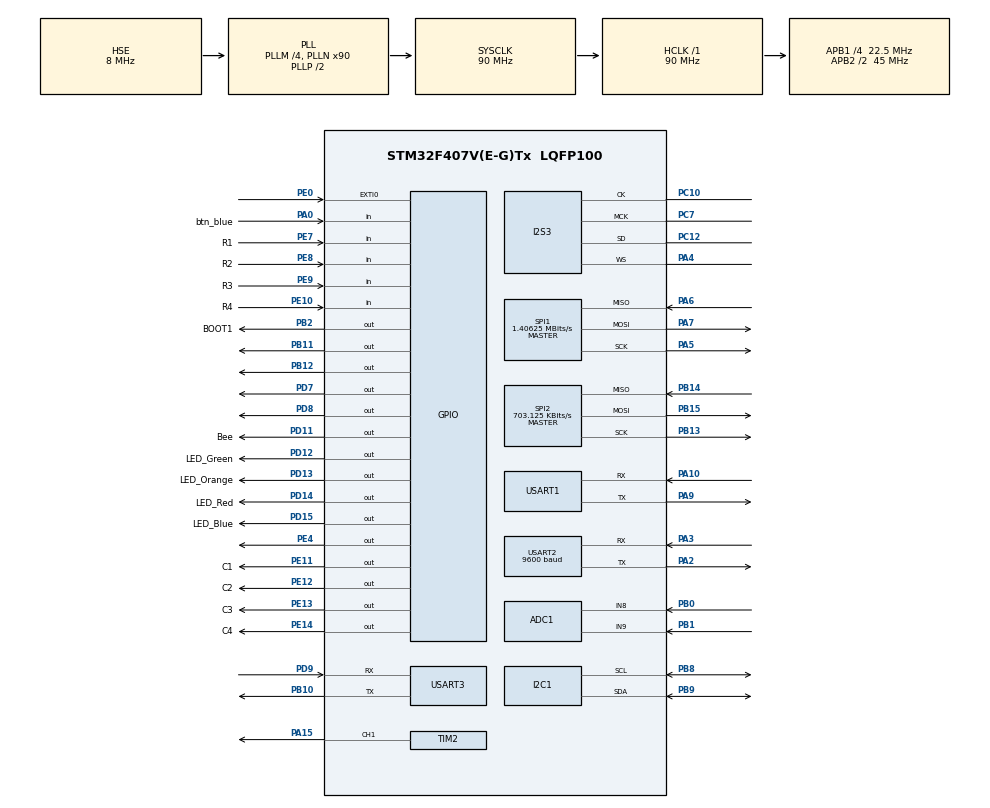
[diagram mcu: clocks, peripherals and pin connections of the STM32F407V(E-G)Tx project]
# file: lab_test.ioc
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ADC1.Channel-0\#ChannelRegularConversion=ADC_CHANNEL_8
ADC1.Channel-1\#ChannelRegularConversion=ADC_CHANNEL_9
ADC1.ContinuousConvMode=ENABLE
ADC1.NbrOfConversion=2
ADC1.NbrOfConversionFlag=1
ADC1.Rank-0\#ChannelRegularConversion=1
ADC1.Rank-1\#ChannelRegularConversion=2
ADC1.SamplingTime-0\#ChannelRegularConversion=ADC_SAMPLETIME_3CYCLES
ADC1.SamplingTime-1\#ChannelRegularConversion=ADC_SAMPLETIME_3CYCLES
ADC1.ScanConvMode=ENABLE
ADC1.master=1
Dma.ADC1.1.Direction=DMA_PERIPH_TO_MEMORY
Dma.ADC1.1.FIFOMode=DMA_FIFOMODE_DISABLE
Dma.ADC1.1.Instance=DMA2_Stream0
Dma.ADC1.1.MemDataAlignment=DMA_MDATAALIGN_WORD
Dma.ADC1.1.MemInc=DMA_MINC_ENABLE
Dma.ADC1.1.Mode=DMA_CIRCULAR
Dma.ADC1.1.PeriphDataAlignment=DMA_PDATAALIGN_WORD
Dma.ADC1.1.PeriphInc=DMA_PINC_DISABLE
Dma.ADC1.1.Priority=DMA_PRIORITY_LOW
Dma.Request0=SPI3_TX
Dma.Request1=ADC1
Dma.SPI3_TX.0.Direction=DMA_MEMORY_TO_PERIPH
Dma.SPI3_TX.0.FIFOMode=DMA_FIFOMODE_ENABLE
Dma.SPI3_TX.0.FIFOThreshold=DMA_FIFO_THRESHOLD_FULL
Dma.SPI3_TX.0.Instance=DMA1_Stream5
Dma.SPI3_TX.0.MemBurst=DMA_MBURST_SINGLE
Dma.SPI3_TX.0.MemDataAlignment=DMA_MDATAALIGN_HALFWORD
Dma.SPI3_TX.0.MemInc=DMA_MINC_ENABLE
Dma.SPI3_TX.0.Mode=DMA_CIRCULAR
Dma.SPI3_TX.0.PeriphBurst=DMA_PBURST_SINGLE
Dma.SPI3_TX.0.PeriphDataAlignment=DMA_PDATAALIGN_HALFWORD
Dma.SPI3_TX.0.PeriphInc=DMA_PINC_DISABLE
Dma.SPI3_TX.0.Priority=DMA_PRIORITY_LOW
I2S3.AudioFreq=I2S_AUDIOFREQ_44K
I2S3.ErrorAudioFreq=10.97 %
I2S3.FullDuplexMode=I2S_FULLDUPLEXMODE_DISABLE
I2S3.Instance=SPI$Index
I2S3.RealAudioFreq=48.828 KHz
I2S3.VirtualMode=I2S_MODE_MASTER
Mcu.Family=STM32F4
Mcu.Name=STM32F407V(E-G)Tx
Mcu.Package=LQFP100
NVIC.DMA1_Stream5_IRQn=true\:0\:0\:false\:false\:true\:false\:true\:true
NVIC.DMA2_Stream0_IRQn=true\:0\:0\:false\:false\:true\:false\:true\:true
NVIC.EXTI0_IRQn=true\:15\:0\:true\:false\:true\:true\:true\:true
NVIC.PriorityGroup=NVIC_PRIORITYGROUP_4
NVIC.TIM6_DAC_IRQn=true\:15\:0\:true\:false\:true\:false\:true\:true
NVIC.TimeBase=TIM6_DAC_IRQn
NVIC.TimeBaseIP=TIM6
NVIC.USART1_IRQn=true\:0\:0\:false\:false\:true\:true\:true\:true
NVIC.USART2_IRQn=true\:0\:0\:false\:false\:true\:true\:true\:true
NVIC.USART3_IRQn=true\:0\:0\:false\:false\:true\:true\:true\:true
PA0-WKUP.GPIO_Label=btn_blue
PA0-WKUP.Signal=GPIO_Input
PA10.Mode=Asynchronous
PA10.Signal=USART1_RX
PA13.Mode=Serial_Wire
PA13.Signal=SYS_JTMS-SWDIO
PA14.Mode=Serial_Wire
PA14.Signal=SYS_JTCK-SWCLK
PA15.Signal=S_TIM2_CH1_ETR
PA2.Mode=Asynchronous
PA2.Signal=USART2_TX
PA3.Mode=Asynchronous
PA3.Signal=USART2_RX
PA4.Mode=Half_Duplex_Master
PA4.Signal=I2S3_WS
PA5.Mode=Full_Duplex_Master
PA5.Signal=SPI1_SCK
PA6.Mode=Full_Duplex_Master
PA6.Signal=SPI1_MISO
PA7.Mode=Full_Duplex_Master
PA7.Signal=SPI1_MOSI
PA9.Mode=Asynchronous
PA9.Signal=USART1_TX
PB0.Signal=ADCx_IN8
PB1.Signal=ADCx_IN9
PB10.Mode=Asynchronous
PB10.Signal=USART3_TX
PB11.Signal=GPIO_Output
PB12.Signal=GPIO_Output
PB13.Mode=Full_Duplex_Master
PB13.Signal=SPI2_SCK
PB14.Mode=Full_Duplex_Master
PB14.Signal=SPI2_MISO
PB15.Mode=Full_Duplex_Master
PB15.Signal=SPI2_MOSI
PB2.GPIO_Label=BOOT1
PB2.Signal=GPIO_Output
PB8.GPIO_Pu=GPIO_PULLUP
PB8.Mode=I2C
PB8.Signal=I2C1_SCL
PB9.GPIO_Pu=GPIO_PULLUP
PB9.Mode=I2C
PB9.Signal=I2C1_SDA
PC10.Mode=Half_Duplex_Master
PC10.Signal=I2S3_CK
PC12.Mode=Half_Duplex_Master
PC12.Signal=I2S3_SD
PC7.Mode=Master_Clock_Activated
PC7.Signal=I2S3_MCK
PD11.GPIO_Label=Bee
PD11.Signal=GPIO_Output
PD12.GPIO_Label=LED_Green
PD12.Signal=GPIO_Output
PD13.GPIO_Label=LED_Orange
PD13.Signal=GPIO_Output
PD14.GPIO_Label=LED_Red
PD14.Signal=GPIO_Output
PD15.GPIO_Label=LED_Blue
PD15.Signal=GPIO_Output
PD7.Signal=GPIO_Output
PD8.Signal=GPIO_Output
PD9.Mode=Asynchronous
PD9.Signal=USART3_RX
PE0.Signal=GPXTI0
PE10.GPIO_Label=R4
PE10.Signal=GPIO_Input
PE11.GPIO_Label=C1
PE11.Signal=GPIO_Output
PE12.GPIO_Label=C2
PE12.Signal=GPIO_Output
PE13.GPIO_Label=C3
PE13.Signal=GPIO_Output
PE14.GPIO_Label=C4
PE14.Signal=GPIO_Output
PE4.Signal=GPIO_Output
PE7.GPIO_Label=R1
PE7.Signal=GPIO_Input
PE8.GPIO_Label=R2
PE8.Signal=GPIO_Input
PE9.GPIO_Label=R3
PE9.Signal=GPIO_Input
PH0-OSC_IN.Mode=HSE-External-Oscillator
PH0-OSC_IN.Signal=RCC_OSC_IN
PH1-OSC_OUT.Mode=HSE-External-Oscillator
PH1-OSC_OUT.Signal=RCC_OSC_OUT
ProjectManager.HeapSize=0x200
ProjectManager.StackSize=0x400
ProjectManager.TargetToolchain=STM32CubeIDE
RCC.48MHZClocksFreq_Value=45000000
RCC.AHBFreq_Value=90000000
RCC.APB1CLKDivider=RCC_HCLK_DIV4
RCC.APB1Freq_Value=22500000
RCC.APB1TimFreq_Value=45000000
RCC.APB2CLKDivider=RCC_HCLK_DIV2
RCC.APB2Freq_Value=45000000
RCC.APB2TimFreq_Value=90000000
RCC.CortexFreq_Value=90000000
RCC.HCLKFreq_Value=90000000
RCC.HSE_VALUE=8000000
RCC.HSI_VALUE=16000000
RCC.LSE_VALUE=32768
RCC.PLLI2SN=50
RCC.PLLM=4
RCC.PLLN=90
RCC.PLLSourceVirtual=RCC_PLLSOURCE_HSE
RCC.SYSCLKFreq_VALUE=90000000
RCC.SYSCLKSource=RCC_SYSCLKSOURCE_PLLCLK
RCC.VCOOutputFreq_Value=180000000
SH.ADCx_IN8.0=ADC1_IN8,IN8
SH.ADCx_IN9.0=ADC1_IN9,IN9
SH.S_TIM2_CH1_ETR.0=TIM2_CH1,PWM Generation1 CH1
SPI1.BaudRatePrescaler=SPI_BAUDRATEPRESCALER_32
SPI1.CalculateBaudRate=1.40625 MBits/s
SPI1.Direction=SPI_DIRECTION_2LINES
SPI1.Mode=SPI_MODE_MASTER
SPI1.VirtualType=VM_MASTER
SPI2.BaudRatePrescaler=SPI_BAUDRATEPRESCALER_32
SPI2.CalculateBaudRate=703.125 KBits/s
SPI2.Direction=SPI_DIRECTION_2LINES
SPI2.Mode=SPI_MODE_MASTER
SPI2.VirtualType=VM_MASTER
TIM2.Channel-PWM\ Generation1\ CH1=TIM_CHANNEL_1
TIM2.ClockDivision=TIM_CLOCKDIVISION_DIV1
TIM2.Period=65535
TIM2.Prescaler=89
USART1.VirtualMode=VM_ASYNC
USART2.BaudRate=9600
USART2.VirtualMode=VM_ASYNC
USART3.VirtualMode=VM_ASYNC
VP_SYS_VS_tim6.Mode=TIM6
board=custom

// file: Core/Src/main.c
/* USER CODE BEGIN Header */
/**
 ******************************************************************************
 * @file           : main.c
 * @brief          : Main program body
 ******************************************************************************
 * @attention
 *
 * <h2><center>&copy; Copyright (c) 2021 STMicroelectronics.
 * All rights reserved.</center></h2>
 *
 * This software component is licensed by ST under BSD 3-Clause license,
 * the "License"; You may not use this file except in compliance with the
 * License. You may obtain a copy of the License at:
 *                        opensource.org/licenses/BSD-3-Clause
 *
 ******************************************************************************
 */

#include "mmc_sd.h"
#include "fatfs.h"
#include "fops.h"
#include <string.h>
//#include "main.h"
#include "FreeRTOS.h"

#include "queue.h"
#include "semphr.h"
#include "task.h"
#include "File_Handling.h"
#include "waveplayer.h"

#include "stdio.h"
#include "stdlib.h"
#include "rc522.h"
#include "string.h"
#include "liquidcrystal_i2c.h"
/* USER CODE END Header */
#include "main.h"

/* USER CODE BEGIN Includes */
//#define RXBUFFERSIZE  256
//char RxBuffer[RXBUFFERSIZE];
//#include <stdio.h>
/* USER CODE END Includes */

/* USER CODE BEGIN PTD */
GPIO_TypeDef* R1_PORT = GPIOE;
GPIO_TypeDef* R2_PORT = GPIOE;
GPIO_TypeDef* R3_PORT = GPIOE;
GPIO_TypeDef* R4_PORT = GPIOE;
GPIO_TypeDef* C1_PORT = GPIOE;
GPIO_TypeDef* C2_PORT = GPIOE;
GPIO_TypeDef* C3_PORT = GPIOE;
GPIO_TypeDef* C4_PORT = GPIOE;
/* USER CODE END PTD */

/* USER CODE BEGIN PD */
#define R1_PIN GPIO_PIN_7
#define R2_PIN GPIO_PIN_8
#define R3_PIN GPIO_PIN_9
#define R4_PIN GPIO_PIN_10
#define C1_PIN GPIO_PIN_11
#define C2_PIN GPIO_PIN_12
#define C3_PIN GPIO_PIN_13
#define C4_PIN GPIO_PIN_14
/* USER CODE END PD */

ADC_HandleTypeDef hadc1;
DMA_HandleTypeDef hdma_adc1;

I2C_HandleTypeDef hi2c1;

I2S_HandleTypeDef hi2s3;
DMA_HandleTypeDef hdma_spi3_tx;

SPI_HandleTypeDef hspi1;
SPI_HandleTypeDef hspi2;

TIM_HandleTypeDef htim2;

UART_HandleTypeDef huart1;
UART_HandleTypeDef huart2;
UART_HandleTypeDef huart3;

/* USER CODE BEGIN PV */
uint8_t status;
uint8_t str[MAX_LEN]; // Max_LEN = 16
uint8_t sNum[5];
TaskHandle_t xHandle_1 = NULL;
TaskHandle_t xHandle_2 = NULL;
TaskHandle_t xHandle_lock_task = NULL;
TaskHandle_t xHandle_unlock_task = NULL;
  //registered card linked list
card *list_start = NULL;
card *list_end = NULL;

char key;
char enteredPin[5];
uint8_t entered = 0;
const char setPin[4] = {'1', '2', '3', '4'};
uint8_t newPinSet = 0;
QueueHandle_t keypadQueue;
/* USER CODE END PV */

void SystemClock_Config(void);
static void MX_GPIO_Init(void);
static void MX_DMA_Init(void);
void MX_SPI1_Init(void);
static void MX_I2C1_Init(void);
static void MX_I2S3_Init(void);
static void MX_USART2_UART_Init(void);
static void MX_ADC1_Init(void);
static void MX_SPI2_Init(void);
static void MX_TIM2_Init(void);
static void MX_USART3_UART_Init(void);
static void MX_USART1_UART_Init(void);
/* USER CODE BEGIN PFP */
//extern ApplicationTypeDef Appli_state;
extern AUDIO_PLAYBACK_StateTypeDef AudioState;
SemaphoreHandle_t xSemaphore;
uint8_t flag = pdTRUE;
uint8_t isFinished = 0;
int k=0;
int recvt;
QueueHandle_t xQue1;
/* USER CODE END PFP */

/* USER CODE BEGIN 0 */
//UART_HandleTypeDef UartHandle;
/* Private function prototypes -----------------------------------------------*/
char read_keypad(void)
{
    char keys[4][4] = {{'1', '2', '3', 'A'},
                       {'4', '5', '6', 'B'},
                       {'7', '8', '9', 'C'},
                       {'*', '0', '#', 'D'}};

    for (int i = 0; i < 4; i++)
    {
        // Set one column to LOW and others to HIGH
        HAL_GPIO_WritePin(C1_PORT, C1_PIN, (i == 0) ? GPIO_PIN_RESET : GPIO_PIN_SET);
        HAL_GPIO_WritePin(C2_PORT, C2_PIN, (i == 1) ? GPIO_PIN_RESET : GPIO_PIN_SET);
        HAL_GPIO_WritePin(C3_PORT, C3_PIN, (i == 2) ? GPIO_PIN_RESET : GPIO_PIN_SET);
        HAL_GPIO_WritePin(C4_PORT, C4_PIN, (i == 3) ? GPIO_PIN_RESET : GPIO_PIN_SET);
//         printf("Row 1 Pin State: %d\n", HAL_GPIO_ReadPin(R1_PORT, R1_PIN));

        // Check each row
        if (HAL_GPIO_ReadPin(R1_PORT, R1_PIN) == GPIO_PIN_RESET) {
            HAL_Delay(20); // Debounce delay
            if (HAL_GPIO_ReadPin(R1_PORT, R1_PIN) == GPIO_PIN_RESET) { // Check again
                return keys[i][0];
            }
        }
        if (HAL_GPIO_ReadPin(R2_PORT, R2_PIN) == GPIO_PIN_RESET) {
            HAL_Delay(20);
            if (HAL_GPIO_ReadPin(R2_PORT, R2_PIN) == GPIO_PIN_RESET) {
                return keys[i][1];
            }
        }
        if (HAL_GPIO_ReadPin(R3_PORT, R3_PIN) == GPIO_PIN_RESET) {
            HAL_Delay(20);
            if (HAL_GPIO_ReadPin(R3_PORT, R3_PIN) == GPIO_PIN_RESET) {
                return keys[i][2];
            }
        }
        if (HAL_GPIO_ReadPin(R4_PORT, R4_PIN) == GPIO_PIN_RESET) {
            HAL_Delay(20);
            if (HAL_GPIO_ReadPin(R4_PORT, R4_PIN) == GPIO_PIN_RESET) {
                return keys[i][3];
            }
        }
    }

//    printf("Key read: %c\n", key);
    return '\0';
}

//search card in the linked list stored in the RAM of board
uint8_t search_card_list_Global(uint8_t *target_cardVal)
{
  uint8_t card_exist = 0;
  card *current = list_start;
  while(current != NULL){
    if(current->data[0] == target_cardVal[0] && current->data[1] == target_cardVal[1] && current->data[2] == target_cardVal[2] && current->data[3] == target_cardVal[3] && current->data[4] == target_cardVal[4]){
      card_exist = 1;
      break;
    }
    current = current->next;
  }
  return card_exist;
}

//search card in the linked list stored in the SD card
//not finished
uint8_t search_card_list_SD(uint8_t *target_cardVal){
  FIL file_be_read;

  if (f_open(&file_be_read, "test.txt", FA_READ) != 0) {
    printf("X:open file err in search_card_list_SD\r\n");
  } else {
    printf("O:open file ok in search_card_list_SD\r\n");
  }

  //get total_card number in the SD
  char total_card_str[11+2+1] = "None\n\r";//11 for "total_card:", 2 for total_card, 1 for'\0'
  UINT bytesread;
  f_read(&file_be_read, total_card_str, sizeof(total_card_str), &bytesread);
  printf (total_card_str); //debug

  uint8_t total_card = 0;
  sscanf(total_card_str, "total_card:%d", &total_card); //return 1 if success
  printf("%d\r\n", total_card); //debug

  f_close(&file_be_read);

  //todo: read card value from SD card

  return 0;
}

void update_card_to_SD(){
  //count total card in the linked list
  uint8_t total_card = 0;
  uint8_t value_num = 5;//each card has 5 values
  card *cur = list_start;
  while(cur != NULL){
    total_card++;
    cur = cur->next;
  }

  //transfer uint8_t card_value to string, and store in array:cardVal
  char cardVal[total_card * value_num][3+1+1];//store string transfered from uint8 card_value, and assume each card_value won't exceed 3 digits, and 1 for '\0', 1 for ","
  memset(cardVal, 0, sizeof(cardVal));
  cur = list_start;
  uint8_t card_index = 0;
  while(cur != NULL){
    for(int i = 0; i < value_num; i++){
      sprintf(cardVal[i+card_index], "%d", cur->data[i]);
      if(i != value_num - 1){
        strcat(cardVal[i+card_index], ",");
      }
    }
    card_index += value_num;
    cur = cur->next;
  }

  //concatenate all value string into a single string
  char temp[(2+1)];//assume total_card won't exceed 2 digits
  memset(temp, 0, sizeof(temp));
  sprintf(temp, "%d", total_card);
  char total_card_str[11+2+1+2];//11 for "total_card:", 2 for total_card, 1 for '\0', 2 for "\r\n"
  memset(total_card_str, 0, sizeof(total_card_str));
  strcat(total_card_str, "total_card:");
  strcat(total_card_str, temp);
  strcat(total_card_str, "\r\n");

  char to_write[sizeof(total_card_str) + total_card * value_num * (3+1+2)];//3 for value, 1 for ",", 2 for "\r\n"
  memset(to_write, 0, sizeof(to_write));
  strcat(to_write, total_card_str);
  for(int i = 0; i < total_card * value_num; i++){
    strcat(to_write, cardVal[i]);
    if((i+1)%5 == 0){//5-th value of a card
      strcat(to_write, "\r\n");
    }
  }
  printf(to_write); //debug

  //overwrite card_information to SD card
  FIL writed_file;
  if (f_open(&writed_file, "test.txt", FA_WRITE) != 0) {
    printf("X:open file err in update_card_to_SD\r\n");
  } else {
    printf("O:open file ok in update_card_to_SD\r\n");
  }
  UINT byteswrite;
  f_write(&writed_file, to_write, sizeof(to_write)+1, &byteswrite);
  f_close(&writed_file);
}

//add a new card into the linked list, and update SD card
void rc522_add_card(){
  HAL_GPIO_WritePin(GPIOD,LED_Blue_Pin,1);
  //reset str before reading
  for(int cardVal = 0; cardVal < 5; cardVal++){
    str[cardVal] = 0;
  }
  //if a card is read, str[0~4] will not be 0
  //repeat reading until a card is read
  while(!(str[0] != 0 && str[1] != 0 && str[2] != 0 && str[3] != 0 && str[4] != 0)){
    status = MFRC522_Request(PICC_REQIDL, str);
    status = MFRC522_Anticoll(str);
  }
  //check if the readed card already exists in the linked list
  //if it exists, keep reading until a new card is read
  uint8_t card_exist = search_card_list_Global(str);
  while(card_exist){
    //reset str before reading
    for(int cardVal = 0; cardVal < 5; cardVal++){
      str[cardVal] = 0;
    }
    while(!(str[0] != 0 && str[1] != 0 && str[2] != 0 && str[3] != 0 && str[4] != 0)){
      status = MFRC522_Request(PICC_REQIDL, str);
      status = MFRC522_Anticoll(str);
    }
    card_exist = search_card_list_Global(str);
  }
  //add the new card to the list, don't forget to free this memory in delete_card fn.
  card *new_card = (card *)malloc(sizeof(card));
  new_card->next = NULL;
  for(int cardVal = 0; cardVal < 5; cardVal++){
    new_card->data[cardVal] = str[cardVal];
  }
  if(list_start == NULL){//the list is empty
    list_start = new_card;
    list_end = new_card;
  }else if (list_start -> next == NULL){//there is only one card in the list
    list_start->next = new_card;
    list_end = new_card;
  }else{//there are >= 2 cards in the list
    list_end->next = new_card;
    list_end = new_card;
  }
  HAL_GPIO_WritePin(GPIOD,LED_Blue_Pin,0);

  //update registered_card_linked_list to SD card.(overwrite)
  // update_card_to_SD();
}

//assume the target card is in the list
//delete the target card from the linked list, and update SD card
void rc522_delete_card(uint8_t *target_card_value){
  card *cur = list_start;
  card *prev = NULL;
  while(cur != NULL){
    if(cur->data[0] == target_card_value[0] && cur->data[1] == target_card_value[1] && cur->data[2] == target_card_value[2] && cur->data[3] == target_card_value[3] && cur->data[4] == target_card_value[4]){
      break; //found
    }
    prev = cur;
    cur = cur->next;
  }
  if(cur == list_start){//target is the first card
    list_start = list_start->next;
    free(cur);
    cur == NULL;
  }else if(cur == list_end){//target is the last card
    list_end = prev;
    prev->next = NULL;
    free(cur);
    cur == NULL;
  }else{//target is in the middle
    prev->next = cur->next;
    free(cur);
    cur == NULL;
  }
  //update registered_card_linked_list to SD card.(overwrite)
  // update_card_to_SD();
}

void rc522_test(void *pvParameters)
{
  //test
  // rc522_add_card();
  // uint8_t del[5] = {211,113,208,2,112};
  // rc522_delete_card(del);
  while(1){
    //it's possible that no card is read
    status = MFRC522_Request(PICC_REQIDL, str);
    status = MFRC522_Anticoll(str);
    memcpy(sNum, str, 5);
    uint8_t led_state = 0;

    // test
    // if((str[0]==211) && (str[1]==113) && (str[2]==208) && (str[3]==2) && (str[4]==112) )
    // {
    //   // HAL_GPIO_WritePin(GPIOD,LED_Orange_Pin,0);
    //   led_state = 0;
    //   HAL_Delay(100);
    //   }
    // else if((str[0]==106) && (str[1]==73) && (str[2]==5) && (str[3]==128) && (str[4]==166) )
    //   {
    //   // HAL_GPIO_WritePin(GPIOD,LED_Orange_Pin,0);
    //   led_state = 0;
    //   HAL_Delay(200);
    // }
    // else
    // {
    //   // HAL_GPIO_WritePin(GPIOD,LED_Orange_Pin,1);
    //   led_state = 1;
    // }

    //test: os will crash when readiing SD card first.(i.e. Not write to SD card first)
    //search_card_list_SD(str);

    uint8_t card_exist = search_card_list_Global(str);
    if(card_exist){
      led_state = 0;
    }else{
      led_state = 1;
    }
    HAL_GPIO_WritePin(GPIOD,LED_Orange_Pin,led_state);
    HAL_Delay(300);
  }
}

void Task1(void *pvParameters);
void Task2(void *pvParameters);
void Task3(void *pvParameters);

void Task1(void *pvParameters) {
	uint8_t count=0;
	for (;;)
	{
		FIL test;
    //task1 should wait task 2 finish reading
		if (xSemaphoreTake(xSemaphore,( TickType_t ) 10) == pdTRUE)
		{
			if (f_open(&test, "TEST.txt", FA_WRITE) != 0) {
				printf("open file err in task1\r\n");
			} else {
				printf("file open ok in task1\r\n");
			}

			char buff[13];
      char append[24];
			memset(buff, 0, 13);
      memset(append, 0, 24);
			if(count%2){
				sprintf(buff, "%s", "DataWriteT");//11 char + '\0' = 12 bytes to write
			}else{
				sprintf(buff, "%s", "DataWriteF");
			}
			UINT byteswrite;
      strcat(append, buff);
      strcat(append, "\n");
      strcat(append, "test_append");
			f_write(&test, append, sizeof(append)+1, &byteswrite);
      f_close(&test);

      count++;
			xSemaphoreGive(xSemaphore);
		}

		vTaskDelay(1000);
	}

}

void Task2(void *pvParameters) {
	while (1)
	{
		FIL test_1;
    //task2 should wait task 1 finish writing
		if (xSemaphoreTake(xSemaphore,( TickType_t ) 10) == pdTRUE)
		{
			if (f_open(&test_1, "TEST.txt", FA_READ) != 0) {
				printf("open file err in task2\r\n");
			} else {
				printf("file open ok in task2\r\n");
			}

			char buff[25];
			memset(buff, 0, 25);
			UINT bytesread;
			f_read(&test_1, buff, 25, &bytesread);//'\0' is not necessary to read

			printf("data read is %s in task 2\r\n", buff);

			f_close(&test_1);
			xSemaphoreGive(xSemaphore);
		}
		vTaskDelay(1000);
	}
}

void Task3(void *pvParameters) {
	for (;;) {
		int isFinished = 0;
		TickType_t xDelay = 10 / portTICK_PERIOD_MS;
		AUDIO_PLAYER_Start(0);
		while(!isFinished){
			AUDIO_PLAYER_Process(pdTRUE);
			if(AudioState == AUDIO_STATE_STOP){
				isFinished = 1;
			}
      int opt = 0;
			if(xQueueReceive(xQue1,&opt,(TickType_t)3) == pdTRUE){
				AudioState=AUDIO_STATE_NEXT;
				vTaskDelay(xDelay);
			}
		}
	}
}

int debounce(int state){
  //pressed
  if(state){
    //wait for some time to debounce
    vTaskDelay(25);
    //check if still pressed
    if(HAL_GPIO_ReadPin(btn_blue_GPIO_Port, GPIO_PIN_0)){
      //wait for button to be released
      while(HAL_GPIO_ReadPin(btn_blue_GPIO_Port, GPIO_PIN_0)){;}
      return 1;//pressed
    }
  }
  return 0;//not pressed
}

void PushButton(){
	for(;;){
		int opt=1;

		if(debounce(HAL_GPIO_ReadPin(btn_blue_GPIO_Port, GPIO_PIN_0))){
      xQueueSend(xQue1,&opt,(TickType_t)3);
      vTaskDelay(25);
    }
	}
}

//not relative to lab5
char str_c[30][100] = {
		"Thinking about y                        ou",
		"As I'm lying nex                        t to someone else",
		"Drinking without                        you",
		"Doesn't fix me b                        ut it kinda helps",
		"Oh I still wish                         we could go back to where we started",
		"OH, OH, OH, OH,                         OH",
		"OH, OH, OH, OH,                         OH",
		"I'M GAZELLE. WEL                        COME TO ZOOTOPIA.",
		"OH, OH, OH, OH,                         OH",
		"OH, OH, OH, OH,                         OH",
		"I MESSED UP TONI                        GHT",
		};

char str_lcd[16] = "Hello World!";//one line of lcd contains 16 char
char str_test[16] = "world hello!";
//not relative to lab5
void lcd_test(void *pvParameters){
  int count = 0;
  HD44780_Init(2);//lcd init, should be called in "task"
  HD44780_Clear();//clean screen
	HAL_Delay(100);
	while(1) {
    if(count%2 ==0){
      HD44780_PrintStr(str_lcd);
      HD44780_SetCursor(0,1);//move cursor to the first word of the second line
      HD44780_PrintStr(str_test);
    }else{
      HD44780_PrintStr(str_test);
    }
    HAL_Delay(1000);
    HD44780_Clear();
    count++;
		// size_t numElements_c = sizeof(str_c) / sizeof(str_c[0]);
		// for(int x=0;x<numElements_c;x++){
		// 	HD44780_PrintStr(str_c[x]);
		// 	if(x<5){
		// 		HAL_Delay(1000);
		// 		HD44780_Clear();
		// 	}else{
		// 		HAL_Delay(2000);
		// 		HD44780_Clear();
		// 	}
		// }
	}

//	HD44780_Clear();
//	HAL_Delay(1300);
//	size_t numElements_m = sizeof(str_m) / sizeof(str_m[0]);
//	for(int x=0;x<numElements_m;x++){
//		HD44780_PrintStr(str_c[x]);
//		HAL_Delay(3000);
//		HD44780_Clear();
//	}

//	HD44780_Clear();
//	HAL_Delay(1000);
//	size_t numElements_t = sizeof(str_t) / sizeof(str_t[0]);
//	for(int x=0;x<numElements_t;x++){
//		HD44780_PrintStr(str_c[x]);
//		HAL_Delay(3000);
//		HD44780_Clear();
//	}

//	  HD44780_SetCursor(0,0);
//	  size_t len = strlen(str_c[0]);
//	  size_t numElements = sizeof(str_c) / sizeof(str_c[0]);
//
//	  for(int j=0;j<numElements;j++){
//		  HD44780_PrintStr(str_c[j]);
//		  HAL_Delay(500);
//		  for(int x=0;x<len;x++){
			  // HD44780_ScrollDisplayLeft();
//			  HAL_Delay(500);
//		  }
//		  HD44780_Clear();
//	  }

//
//	  HD44780_Clear();
//	  HD44780_SetCursor(0,0);
//	  HD44780_PrintStr("HELLO");
//	  HAL_Delay(2000);
//	  HD44780_NoBacklight();
//	  HAL_Delay(2000);
//	  HD44780_Backlight();
//
//	  HAL_Delay(2000);
//	  HD44780_Cursor();
//	  HAL_Delay(2000);
//	  HD44780_Blink();
//	  HAL_Delay(5000);
//	  HD44780_NoBlink();
//	  HAL_Delay(2000);
//	  HD44780_NoCursor();
//	  HAL_Delay(2000);
//
//	  HD44780_NoDisplay();
//	  HAL_Delay(2000);
//	  HD44780_Display();
//
//	  HD44780_Clear();
//	  HD44780_SetCursor(0,0);
//	  HD44780_PrintStr("Learning STM32 with LCD is fun :-)");
//	  for(int x=0; x<40; x=x+1)
//	  {
// HD44780_ScrollDisplayLeft();  //HD44780_ScrollDisplayRight();
//	    HAL_Delay(500);
//	  }
//
//	  char snum[5];
//	  for ( int x = 1; x <= 200 ; x++ )
//	  {
//	    itoa(x, snum, 10);
//	    HD44780_Clear();
//	    HD44780_SetCursor(0,0);
//	    HD44780_PrintStr(snum);
//	    HAL_Delay (1000);
//	  }
}

uint8_t rc522_check(){
  status = MFRC522_Request(PICC_REQIDL, str);
  status = MFRC522_Anticoll(str);
  memcpy(sNum, str, 5);
  uint8_t card_exist = search_card_list_Global(str);
  return card_exist;
}

uint8_t keypad_check() {
    printf("Entered keypad_check()\n");
    char enteredPin[5] = {0};
    uint8_t entered = 0;
    char key;
    bool isButtonPressed = false;
    bool startInput = false;  // Flag to indicate whether to start PIN input

    HD44780_Clear();
    HD44780_SetCursor(0, 0);
    HD44780_PrintStr("Ready");
    HAL_Delay(20);

    while (entered < 4) {
        key = read_keypad();  // Read key input

        if (key != '\0' && !isButtonPressed) {
            printf("Entered key: %c\n", key);
            if (!startInput) {
                HD44780_Clear();
                HD44780_SetCursor(0, 0);
                HD44780_PrintStr("Enter PIN:");
                startInput = true;  // Start showing PIN input screen and accepting PIN input
            }

            if (key >= '0' && key <= '9' && entered < 4) {
                strncat(enteredPin, &key, 1);
                entered++;

                HD44780_SetCursor(11 + entered - 1, 0);
                HD44780_PrintStr("*");  // Print each '*' as it is entered
                printf(key);
            } else if (key == 'C' && entered > 0) {
                enteredPin[--entered] = '\0';
                HD44780_SetCursor(11 + entered, 0);
                HD44780_PrintStr(" ");  // Clear the '*' from the display
            }

            isButtonPressed = true;  // Mark the button as pressed
        } else if (key == '\0') {
            isButtonPressed = false;  // Reset button press state
        }
    }

    if (entered == 4) {
        if (strncmp(enteredPin, setPin, 4) == 0) {
            HD44780_Clear();
            HD44780_SetCursor(0, 0);
            HD44780_PrintStr("UNLOCKED");
            return 1;  // PIN is correct
        } else {
            HD44780_SetCursor(0, 1);
            HD44780_PrintStr("Wrong PIN. Try again.");
            return 0;  // PIN is incorrect
        }
    }
    return 0;  // Default return if less than 4 digits were entered
}

uint8_t bluetooth_check(){
	uint8_t rx_data = 0;
	if(HAL_UART_Receive(&huart2,&rx_data,1, 300) == HAL_OK){
		if(rx_data == '1'){
			return 1;
		}
		else{
			return 0;
		}
	}
	return 0;
}

// uint8_t unlock_fn_AddCard(){
//   char add_Card_str[16] = "Add Card";
//   HD44780_SetCursor(0,1);//move cursor to the first word of the second line
//   HD44780_PrintStr(add_Card_str);
//   uint32_t From_begin_time = HAL_GetTick();
//   while(HAL_GetTick() - From_begin_time < 1000/portTICK_RATE_MS){ //busy waiting 1000 ms, can't use vTaskDelay
//     if(debounce(HAL_GPIO_ReadPin(btn_blue_GPIO_Port, GPIO_PIN_0))){//push button
//       rc522_add_card();
//       return 1;//do rc522_add_card
//     }
//   }
//   return 0;//do nothing
// }

// uint8_t unlock_fn_DelCard(){
//   char del_Card_str[16] = "Del Card";
//   HD44780_SetCursor(0,1);
//   HD44780_PrintStr(del_Card_str);
//   uint32_t From_begin_time = HAL_GetTick();
//   while(HAL_GetTick() - From_begin_time < 1000/portTICK_RATE_MS){
//     if(debounce(HAL_GPIO_ReadPin(btn_blue_GPIO_Port, GPIO_PIN_0))){
//       uint8_t del[5] = {211,113,208,2,112};
//       rc522_delete_card(del);
//       return 1;//do rc522_delete_card
//     }
//   }
//   return 0;//do nothing
// }

// uint8_t unlock_fn_Lock(){
//   char del_Card_str[16] = "LOCK!";
//   HD44780_SetCursor(0,1);
//   HD44780_PrintStr(del_Card_str);
//   uint32_t From_begin_time = HAL_GetTick();
//   while(HAL_GetTick() - From_begin_time < 1000/portTICK_RATE_MS){
//     if(debounce(HAL_GPIO_ReadPin(btn_blue_GPIO_Port, GPIO_PIN_0))){
//       vTaskResume(xHandle_lock_task);
//       unlock_bee();
//       return 1;//switch to lock_task
//     }
//   }
//   return 0;//do nothing
// }

void unlock_fn_AddCard(){
  HD44780_Init(2);//lcd init, should be called in "task"
  HD44780_Clear();//clean screen
  char unlock[16] = "UNLOCK!";
  HD44780_PrintStr(unlock);
  char add_Card_str[16] = "Add Card";
  HD44780_SetCursor(0,1);//move cursor to the first word of the second line
  HD44780_PrintStr(add_Card_str);
  uint32_t From_begin_time = HAL_GetTick();
  while(HAL_GetTick() - From_begin_time < 3000/portTICK_RATE_MS){//wait 3s for push button
    if(debounce(HAL_GPIO_ReadPin(btn_blue_GPIO_Port, GPIO_PIN_0))){//push button
      rc522_add_card();
    }
  }
}

void unlock_fn_DelCard(){
  HD44780_Init(2);//lcd init, should be called in "task"
  HD44780_Clear();//clean screen
  char unlock[16] = "UNLOCK!";
  HD44780_PrintStr(unlock);
  char del_Card_str[16] = "Del Card";
  HD44780_SetCursor(0,1);
  HD44780_PrintStr(del_Card_str);
  uint32_t From_begin_time = HAL_GetTick();
  while(HAL_GetTick() - From_begin_time < 3000/portTICK_RATE_MS){//wait 3s for push button
    if(debounce(HAL_GPIO_ReadPin(btn_blue_GPIO_Port, GPIO_PIN_0))){//make sure doing delete card
      while(1){
        int count = 0;
        card *current = list_start;
        while(current != NULL){
          HD44780_Clear();
          char CARD[16] = "card ";
          char card_number[1];
          sprintf(card_number, "%d", count);
          strcat(CARD, card_number);
          HD44780_PrintStr(CARD);
          uint32_t card_showTime = HAL_GetTick();
          while(HAL_GetTick() - card_showTime < 1000/portTICK_RATE_MS){//delete selected card
            if(debounce(HAL_GPIO_ReadPin(btn_blue_GPIO_Port, GPIO_PIN_0))){
              uint8_t del[5] = {current->data[0], current->data[1], current->data[2], current->data[3], current->data[4]};
              rc522_delete_card(del);
              HD44780_Clear();
              char unlock_str[16] = "UNLOCK!";
              HD44780_PrintStr(unlock_str);
              return;
            }
          }
          current = current->next;
          count++;
        }
      }
    }
  }
}

void unlock_fn_Lock(){
  HD44780_Init(2);//lcd init, should be called in "task"
  HD44780_Clear();//clean screen
  char unlock[16] = "UNLOCK!";
  HD44780_PrintStr(unlock);
  char del_Card_str[16] = "LOCK function";
  HD44780_SetCursor(0,1);
  HD44780_PrintStr(del_Card_str);
  uint32_t From_begin_time = HAL_GetTick();
  while(HAL_GetTick() - From_begin_time < 3000/portTICK_RATE_MS){//wait 3s for push button
    if(debounce(HAL_GPIO_ReadPin(btn_blue_GPIO_Port, GPIO_PIN_0))){
      HD44780_Clear();
      vTaskResume(xHandle_lock_task);
      unlock_bee();
    }
  }
}

void lock_bee(){
  for (size_t i = 0; i < 2; i++)
  {
    uint32_t bee_time = HAL_GetTick();
    HAL_GPIO_WritePin(GPIOD, Bee_Pin, GPIO_PIN_SET);
    while(HAL_GetTick() - bee_time < 300/portTICK_RATE_MS){
      ;
    }
    HAL_GPIO_WritePin(GPIOD, Bee_Pin, GPIO_PIN_RESET);
    while(HAL_GetTick() - bee_time < 600/portTICK_RATE_MS){
      ;
    }
  }
}

void unlock_bee(){
  uint32_t bee_time = HAL_GetTick();
  HAL_GPIO_WritePin(GPIOD, Bee_Pin, GPIO_PIN_SET);
  while(HAL_GetTick() - bee_time < 300/portTICK_RATE_MS){
    ;
  }
  HAL_GPIO_WritePin(GPIOD, Bee_Pin, GPIO_PIN_RESET);
}

// void lock_task(void *pvParameters){
//   HD44780_Init(2);//lcd init, should be called in "task"
//   HD44780_Clear();//clean screen
//   while(1){
//     char lock_str[16] = "LOCK!";
//     HAL_GPIO_TogglePin(GPIOD, LED_Green_Pin);
//     HD44780_PrintStr(lock_str);
//     uint8_t unlock = 0;
//     unlock = rc522_check();//str_1
//     if(unlock){
//       vTaskSuspend(xHandle_lock_task);
//       lock_bee();
//     }

//     uint32_t From_begin_time = HAL_GetTick();
//     while(HAL_GetTick() - From_begin_time < 300/portTICK_RATE_MS){ //busy waiting 300 ms, can't use vTaskDelay
//       //todo: password check
//       // unlock = password_check();//str_2
//       // if(unlock){
//       //   vTaskSuspend(xHandle_lock_task);
//       //   lock_bee();
//       // }
//       ;
//     }

//     // unlock = bluetooth_check();//wait 300ms for bluetooth signal
//     // if(unlock){
//     //   vTaskSuspend(xHandle_lock_task);
//     //   lock_bee();
//     // }

//     HD44780_Clear();
//   }
// }

// void unlock_task(void *pvParameters){
//   HD44780_Init(2);//lcd init, should be called in "task"
//   HD44780_Clear();//clean screen
//   uint32_t timeout_count = HAL_GetTick();
//   unlock_bee();
//   while(1){
//     char unlock_str[16] = "UNLOCK!";
//     HD44780_PrintStr(unlock_str);
//     uint8_t fn_execute = 0;
//     //test
//     //add card: 1000ms
//     fn_execute = unlock_fn_AddCard();
//     if(fn_execute){
//       timeout_count = HAL_GetTick();//reset timeout_count
//     }
//     //del card: 1000ms
//     fn_execute = unlock_fn_DelCard();
//     if(fn_execute){
//       timeout_count = HAL_GetTick();//reset timeout_count
//     }
//     //switch to lock_task
//     fn_execute = unlock_fn_Lock();
//     if(fn_execute){
//       timeout_count = HAL_GetTick();//reset timeout_count
//     }

//     HD44780_Clear();
//     if(HAL_GetTick() - timeout_count < 5000/portTICK_RATE_MS){//if 5s passed, switch to lock_task
//       vTaskResume(xHandle_lock_task);//switch to lock_task
//       timeout_count = HAL_GetTick();
//     }
//   }
// }

void lock_task(void *pvParameters){
  HD44780_Init(2);//lcd init, should be called in "task"
  HD44780_Clear();//clean screen
  uint8_t keyPressed = 0;
  while(1){
    char lock_str[16] = "LOCK!";
    HAL_GPIO_TogglePin(GPIOD, LED_Green_Pin);
    HD44780_PrintStr(lock_str);
    uint8_t unlock = 0;
    unlock = rc522_check();//str_1
    if(unlock){
      vTaskSuspend(xHandle_lock_task);
      lock_bee();
    }

    uint32_t From_begin_time = HAL_GetTick();
    while(HAL_GetTick() - From_begin_time < 300/portTICK_RATE_MS){ //busy waiting 300 ms, can't use vTaskDelay
        char key = read_keypad();
        if (key != '\0' && !keyPressed) {
            keyPressed = 1;
            if (keypad_check()) {
                vTaskSuspend(xHandle_lock_task);
                lock_bee();
            }
        } else if (key == '\0' && keyPressed) {
            keyPressed = 0; // Reset the flag when the key is released
        }
    }

    unlock = bluetooth_check();//wait 300ms for bluetooth signal
    if(unlock){
    	// char* device = "BT";
    	// sendLogToServer(device);
    	vTaskSuspend(xHandle_lock_task);
    	lock_bee();
    }

    HD44780_Clear();
  }
}

void unlock_task(void *pvParameters){
  HD44780_Init(2);//lcd init, should be called in "task"
  HD44780_Clear();//clean screen
  unlock_bee();
  while(1){
    char unlock_str[16] = "UNLOCK!";
    HD44780_PrintStr(unlock_str);
    uint8_t fn_execute = 0;
    char key = read_keypad();
    if (key == 'A'){
      unlock_fn_AddCard();
    }
    if (key == 'B'){
      unlock_fn_DelCard();
    }
    if (key == 'C'){
      unlock_fn_Lock();

    }

    HD44780_Clear();
  }
}

void SD_RdWrTest(void) {
	int i = 0;
	static uint8_t bufr[SD_SECTOR_SIZE];
	static uint8_t bufw[SD_SECTOR_SIZE];

	for (i = 0; i < sizeof(bufw); i++) {
		bufr[i] = 0;
		bufw[i] = i % 0xFF;
	}

	SD_WriteDisk(bufw, 1, 1);
	SD_ReadDisk(bufr, 1, 1);
	printf("# SD Card Read & Write Test %s!\r\n",
			memcmp(bufr, bufw, sizeof(bufr)) == 0 ? "Successfully" : "Failed");
}

void sendCommand(UART_HandleTypeDef *huart, char* cmd) {
    HAL_UART_Transmit(huart, (uint8_t*)cmd, strlen(cmd), 500);
}

void receiveResponse(UART_HandleTypeDef *huart, uint8_t *buffer, uint16_t bufferSize) {
    HAL_UART_Receive(huart, buffer, bufferSize, 500);
}

void sendLogToServer(const char* device) {
    char httpRequest[256];
    char httpCmd[64];
    char rxBuffer[256];

    memset(rxBuffer,'\0',sizeof(rxBuffer));
    sendCommand(&huart1, "AT+CIPSTART=\"TCP\",\"192.168.50.94\",8000\r\n");
    // receiveResponse(&huart1, rxBuffer, sizeof(rxBuffer));

    // Create the JSON payload
    snprintf(httpRequest, sizeof(httpRequest),
             "POST /log HTTP/1.1\r\n"
             "Host: 192.168.1.115:8000\r\n"
             "Content-Type: application/json\r\n"
             "Content-Length: %d\r\n"
             "\r\n"
             "{\"device\":\"%s\"}",
             strlen(device) + 13, device);

    // Calculate the length of the HTTP request
    int httpRequestLength = strlen(httpRequest);

    // Create the AT+CIPSEND command with the correct length
    snprintf(httpCmd, sizeof(httpCmd), "AT+CIPSEND=%d\r\n", httpRequestLength);

    // Clear the receive buffer
    memset(rxBuffer, '\0', sizeof(rxBuffer));

    // Send the AT+CIPSEND command
    sendCommand(&huart1, httpCmd);

    // Receive the response (wait for ">")
    // receiveResponse(&huart1, rxBuffer, sizeof(rxBuffer));

    // Check if the response contains ">"
    if (strstr(rxBuffer, ">") != NULL) {
        // Clear the receive buffer
        memset(rxBuffer, '\0', sizeof(rxBuffer));

        // Send the actual HTTP request
        sendCommand(&huart1, httpRequest);

        // Receive the response
        // receiveResponse(&huart1, rxBuffer, sizeof(rxBuffer));
    }

    memset(rxBuffer, '\0', sizeof(rxBuffer));
    sendCommand(&huart1, "AT+CIPCLOSE\r\n");
    // receiveResponse(&huart1, rxBuffer, sizeof(rxBuffer));
}

void vEsp8266Init(){
      char rxBuffer[512];

      memset(rxBuffer,'\0',sizeof(rxBuffer));
      sendCommand(&huart2, "AT\r\n");
      // receiveResponse(&huart1, rxBuffer, sizeof(rxBuffer));

      memset(rxBuffer,'\0',sizeof(rxBuffer));
      sendCommand(&huart2, "AT+CWMODE=1\r\n");
      // receiveResponse(&huart1, rxBuffer, sizeof(rxBuffer));

      memset(rxBuffer,'\0',sizeof(rxBuffer));
      sendCommand(&huart2, "AT+CWJAP=\"92902\",\"00092902\"\r\n");
      // receiveResponse(&huart1, rxBuffer, sizeof(rxBuffer));

      memset(rxBuffer,'\0',sizeof(rxBuffer));
      sendCommand(&huart2, "AT+CIPMUX=0\r\n");
      // receiveResponse(&huart1, rxBuffer, sizeof(rxBuffer));
}

/* USER CODE END 0 */

int main(void)
{
  /* USER CODE BEGIN 1 */
	uint64_t CardSize = 0;
  /* USER CODE END 1 */

  /* MCU Configuration--------------------------------------------------------*/

  /* Reset of all peripherals, Initializes the Flash interface and the Systick. */
  HAL_Init();

  /* USER CODE BEGIN Init */
  xQue1=xQueueCreate(5,sizeof(int));
  /* USER CODE END Init */

  /* Configure the system clock */
  SystemClock_Config();

  /* Initialize all configured peripherals */
  MX_GPIO_Init();
  MX_DMA_Init();
  MX_SPI1_Init();
  MX_I2C1_Init();
  MX_I2S3_Init();
  MX_USART2_UART_Init();
  MX_ADC1_Init();
  MX_SPI2_Init();
  MX_TIM2_Init();
  MX_USART3_UART_Init();
  MX_USART1_UART_Init();
  /* USER CODE BEGIN 2 */
  // vEsp8266Init(); //WiFi init
  MFRC522_Init();//card reader init
  card *default_card = (card *)malloc(sizeof(card));
  default_card->next = NULL;
  default_card->data[0] = 211;
  default_card->data[1] = 113;
  default_card->data[2] = 208;
  default_card->data[3] = 2;
  default_card->data[4] = 112;
  list_start = default_card;
  list_end = default_card;

	CardSize = SD_GetSectorCount();
	CardSize = CardSize * SD_SECTOR_SIZE / 1024 / 1024;

	// printf("# SD Card Type:0x%02X\r\n", SD_Type);
	// printf("# SD Card Size:%luMB\r\n", (uint32_t) CardSize);
	// // HAL_Delay(1000);

	// printf(
	// 		"\r\n\r\n####################### HAL Libary SD Card SPI FATFS Demo ################################\r\n");
	// MX_FATFS_Init();
	// exf_mount();
	// exf_getfree();
  // FATFS_RdWrTest();

  /*lab5-3*/
  // xTaskCreate(Task3, "task3", 500, NULL, 1, NULL);
  // xTaskCreate(PushButton, "PushButton", 128, NULL, 1, NULL);
  /*not relative to lab5*/
  // xTaskCreate(joystick,"joystick",2048,NULL,1,NULL);
	// xTaskCreate(lcd_test,"lcd_test", 500, NULL, 2, &xHandle_2);

  /*lab5-1, 5-2*/
	/* How to use semaphore_binary in Lab2... */
	// xSemaphore = xSemaphoreCreateBinary(); //create a binary semaphore
	// xSemaphoreGive(xSemaphore);      // it must give a xSemaphorefirst to let a task run first
	// xTaskCreate(Task1, "task1", 500, NULL, 1, NULL);
	// xTaskCreate(Task2, "task2", 500, NULL, 1, NULL);

  //rc522-test
  // xTaskCreate(rc522_test, "rc522_test_task", 128, NULL, 1, &xHandle_1);

  //because configUSE_TIME_SLICING = 1
  //if priorities of lock_task and unlock_task are the same, they will be executed in turn.
  xTaskCreate(lock_task, "lock_task", 128, NULL, 2, &xHandle_lock_task);
  xTaskCreate(unlock_task, "unlock_task", 128, NULL, 1, &xHandle_unlock_task);

  vTaskStartScheduler();
  /* USER CODE END 2 */

  /* Infinite loop */
	while (1) {
    HAL_GPIO_TogglePin(GPIOD, LED_Green_Pin);
    HAL_Delay(300);
	}
}

void SystemClock_Config(void)
{
  RCC_OscInitTypeDef RCC_OscInitStruct = {0};
  RCC_ClkInitTypeDef RCC_ClkInitStruct = {0};

  /** Configure the main internal regulator output voltage
  */
  __HAL_RCC_PWR_CLK_ENABLE();
  __HAL_PWR_VOLTAGESCALING_CONFIG(PWR_REGULATOR_VOLTAGE_SCALE1);

  /** Initializes the RCC Oscillators according to the specified parameters
  * in the RCC_OscInitTypeDef structure.
  */
  RCC_OscInitStruct.OscillatorType = RCC_OSCILLATORTYPE_HSE;
  RCC_OscInitStruct.HSEState = RCC_HSE_ON;
  RCC_OscInitStruct.PLL.PLLState = RCC_PLL_ON;
  RCC_OscInitStruct.PLL.PLLSource = RCC_PLLSOURCE_HSE;
  RCC_OscInitStruct.PLL.PLLM = 4;
  RCC_OscInitStruct.PLL.PLLN = 90;
  RCC_OscInitStruct.PLL.PLLP = RCC_PLLP_DIV2;
  RCC_OscInitStruct.PLL.PLLQ = 4;
  if (HAL_RCC_OscConfig(&RCC_OscInitStruct) != HAL_OK)
  {
    Error_Handler();
  }

  /** Initializes the CPU, AHB and APB buses clocks
  */
  RCC_ClkInitStruct.ClockType = RCC_CLOCKTYPE_HCLK|RCC_CLOCKTYPE_SYSCLK
                              |RCC_CLOCKTYPE_PCLK1|RCC_CLOCKTYPE_PCLK2;
  RCC_ClkInitStruct.SYSCLKSource = RCC_SYSCLKSOURCE_PLLCLK;
  RCC_ClkInitStruct.AHBCLKDivider = RCC_SYSCLK_DIV1;
  RCC_ClkInitStruct.APB1CLKDivider = RCC_HCLK_DIV4;
  RCC_ClkInitStruct.APB2CLKDivider = RCC_HCLK_DIV2;

  if (HAL_RCC_ClockConfig(&RCC_ClkInitStruct, FLASH_LATENCY_2) != HAL_OK)
  {
    Error_Handler();
  }
}

static void MX_ADC1_Init(void)
{

  ADC_ChannelConfTypeDef sConfig = {0};

  /** Configure the global features of the ADC (Clock, Resolution, Data Alignment and number of conversion)
  */
  hadc1.Instance = ADC1;
  hadc1.Init.ClockPrescaler = ADC_CLOCK_SYNC_PCLK_DIV2;
  hadc1.Init.Resolution = ADC_RESOLUTION_12B;
  hadc1.Init.ScanConvMode = ENABLE;
  hadc1.Init.ContinuousConvMode = ENABLE;
  hadc1.Init.DiscontinuousConvMode = DISABLE;
  hadc1.Init.ExternalTrigConvEdge = ADC_EXTERNALTRIGCONVEDGE_NONE;
  hadc1.Init.ExternalTrigConv = ADC_SOFTWARE_START;
  hadc1.Init.DataAlign = ADC_DATAALIGN_RIGHT;
  hadc1.Init.NbrOfConversion = 2;
  hadc1.Init.DMAContinuousRequests = DISABLE;
  hadc1.Init.EOCSelection = ADC_EOC_SINGLE_CONV;
  if (HAL_ADC_Init(&hadc1) != HAL_OK)
  {
    Error_Handler();
  }

  /** Configure for the selected ADC regular channel its corresponding rank in the sequencer and its sample time.
  */
  sConfig.Channel = ADC_CHANNEL_8;
  sConfig.Rank = 1;
  sConfig.SamplingTime = ADC_SAMPLETIME_3CYCLES;
  if (HAL_ADC_ConfigChannel(&hadc1, &sConfig) != HAL_OK)
  {
    Error_Handler();
  }

  /** Configure for the selected ADC regular channel its corresponding rank in the sequencer and its sample time.
  */
  sConfig.Channel = ADC_CHANNEL_9;
  sConfig.Rank = 2;
  if (HAL_ADC_ConfigChannel(&hadc1, &sConfig) != HAL_OK)
  {
    Error_Handler();
  }

}

static void MX_I2C1_Init(void)
{

  hi2c1.Instance = I2C1;
  hi2c1.Init.ClockSpeed = 100000;
  hi2c1.Init.DutyCycle = I2C_DUTYCYCLE_2;
  hi2c1.Init.OwnAddress1 = 0;
  hi2c1.Init.AddressingMode = I2C_ADDRESSINGMODE_7BIT;
  hi2c1.Init.DualAddressMode = I2C_DUALADDRESS_DISABLE;
  hi2c1.Init.OwnAddress2 = 0;
  hi2c1.Init.GeneralCallMode = I2C_GENERALCALL_DISABLE;
  hi2c1.Init.NoStretchMode = I2C_NOSTRETCH_DISABLE;
  if (HAL_I2C_Init(&hi2c1) != HAL_OK)
  {
    Error_Handler();
  }

}

static void MX_I2S3_Init(void)
{

  hi2s3.Instance = SPI3;
  hi2s3.Init.Mode = I2S_MODE_MASTER_TX;
  hi2s3.Init.Standard = I2S_STANDARD_PHILIPS;
  hi2s3.Init.DataFormat = I2S_DATAFORMAT_16B;
  hi2s3.Init.MCLKOutput = I2S_MCLKOUTPUT_ENABLE;
  hi2s3.Init.AudioFreq = I2S_AUDIOFREQ_44K;
  hi2s3.Init.CPOL = I2S_CPOL_LOW;
  hi2s3.Init.ClockSource = I2S_CLOCK_PLL;
  hi2s3.Init.FullDuplexMode = I2S_FULLDUPLEXMODE_DISABLE;
  if (HAL_I2S_Init(&hi2s3) != HAL_OK)
  {
    Error_Handler();
  }

}

void MX_SPI1_Init(void)
{

  /* SPI1 parameter configuration*/
  hspi1.Instance = SPI1;
  hspi1.Init.Mode = SPI_MODE_MASTER;
  hspi1.Init.Direction = SPI_DIRECTION_2LINES;
  hspi1.Init.DataSize = SPI_DATASIZE_8BIT;
  hspi1.Init.CLKPolarity = SPI_POLARITY_LOW;
  hspi1.Init.CLKPhase = SPI_PHASE_1EDGE;
  hspi1.Init.NSS = SPI_NSS_SOFT;
  hspi1.Init.BaudRatePrescaler = SPI_BAUDRATEPRESCALER_32;
  hspi1.Init.FirstBit = SPI_FIRSTBIT_MSB;
  hspi1.Init.TIMode = SPI_TIMODE_DISABLE;
  hspi1.Init.CRCCalculation = SPI_CRCCALCULATION_DISABLE;
  hspi1.Init.CRCPolynomial = 10;
  if (HAL_SPI_Init(&hspi1) != HAL_OK)
  {
    Error_Handler();
  }

}

static void MX_SPI2_Init(void)
{

  /* SPI2 parameter configuration*/
  hspi2.Instance = SPI2;
  hspi2.Init.Mode = SPI_MODE_MASTER;
  hspi2.Init.Direction = SPI_DIRECTION_2LINES;
  hspi2.Init.DataSize = SPI_DATASIZE_8BIT;
  hspi2.Init.CLKPolarity = SPI_POLARITY_LOW;
  hspi2.Init.CLKPhase = SPI_PHASE_1EDGE;
  hspi2.Init.NSS = SPI_NSS_SOFT;
  hspi2.Init.BaudRatePrescaler = SPI_BAUDRATEPRESCALER_32;
  hspi2.Init.FirstBit = SPI_FIRSTBIT_MSB;
  hspi2.Init.TIMode = SPI_TIMODE_DISABLE;
  hspi2.Init.CRCCalculation = SPI_CRCCALCULATION_DISABLE;
  hspi2.Init.CRCPolynomial = 10;
  if (HAL_SPI_Init(&hspi2) != HAL_OK)
  {
    Error_Handler();
  }

}

static void MX_TIM2_Init(void)
{

  TIM_MasterConfigTypeDef sMasterConfig = {0};
  TIM_OC_InitTypeDef sConfigOC = {0};

  htim2.Instance = TIM2;
  htim2.Init.Prescaler = 89;
  htim2.Init.CounterMode = TIM_COUNTERMODE_UP;
  htim2.Init.Period = 65535;
  htim2.Init.ClockDivision = TIM_CLOCKDIVISION_DIV1;
  htim2.Init.AutoReloadPreload = TIM_AUTORELOAD_PRELOAD_DISABLE;
  if (HAL_TIM_PWM_Init(&htim2) != HAL_OK)
  {
    Error_Handler();
  }
  sMasterConfig.MasterOutputTrigger = TIM_TRGO_RESET;
  sMasterConfig.MasterSlaveMode = TIM_MASTERSLAVEMODE_DISABLE;
  if (HAL_TIMEx_MasterConfigSynchronization(&htim2, &sMasterConfig) != HAL_OK)
  {
    Error_Handler();
  }
  sConfigOC.OCMode = TIM_OCMODE_PWM1;
  sConfigOC.Pulse = 0;
  sConfigOC.OCPolarity = TIM_OCPOLARITY_HIGH;
  sConfigOC.OCFastMode = TIM_OCFAST_DISABLE;
  if (HAL_TIM_PWM_ConfigChannel(&htim2, &sConfigOC, TIM_CHANNEL_1) != HAL_OK)
  {
    Error_Handler();
  }
  HAL_TIM_MspPostInit(&htim2);

}

static void MX_USART1_UART_Init(void)
{

  huart1.Instance = USART1;
  huart1.Init.BaudRate = 115200;
  huart1.Init.WordLength = UART_WORDLENGTH_8B;
  huart1.Init.StopBits = UART_STOPBITS_1;
  huart1.Init.Parity = UART_PARITY_NONE;
  huart1.Init.Mode = UART_MODE_TX_RX;
  huart1.Init.HwFlowCtl = UART_HWCONTROL_NONE;
  huart1.Init.OverSampling = UART_OVERSAMPLING_16;
  if (HAL_UART_Init(&huart1) != HAL_OK)
  {
    Error_Handler();
  }

}

static void MX_USART2_UART_Init(void)
{

  huart2.Instance = USART2;
  huart2.Init.BaudRate = 9600;
  huart2.Init.WordLength = UART_WORDLENGTH_8B;
  huart2.Init.StopBits = UART_STOPBITS_1;
  huart2.Init.Parity = UART_PARITY_NONE;
  huart2.Init.Mode = UART_MODE_TX_RX;
  huart2.Init.HwFlowCtl = UART_HWCONTROL_NONE;
  huart2.Init.OverSampling = UART_OVERSAMPLING_16;
  if (HAL_UART_Init(&huart2) != HAL_OK)
  {
    Error_Handler();
  }

}

static void MX_USART3_UART_Init(void)
{

  huart3.Instance = USART3;
  huart3.Init.BaudRate = 115200;
  huart3.Init.WordLength = UART_WORDLENGTH_8B;
  huart3.Init.StopBits = UART_STOPBITS_1;
  huart3.Init.Parity = UART_PARITY_NONE;
  huart3.Init.Mode = UART_MODE_TX_RX;
  huart3.Init.HwFlowCtl = UART_HWCONTROL_NONE;
  huart3.Init.OverSampling = UART_OVERSAMPLING_16;
  if (HAL_UART_Init(&huart3) != HAL_OK)
  {
    Error_Handler();
  }

}

static void MX_DMA_Init(void)
{

  /* DMA controller clock enable */
  __HAL_RCC_DMA1_CLK_ENABLE();
  __HAL_RCC_DMA2_CLK_ENABLE();

  /* DMA interrupt init */
  /* DMA1_Stream5_IRQn interrupt configuration */
  HAL_NVIC_SetPriority(DMA1_Stream5_IRQn, 0, 0);
  HAL_NVIC_EnableIRQ(DMA1_Stream5_IRQn);
  /* DMA2_Stream0_IRQn interrupt configuration */
  HAL_NVIC_SetPriority(DMA2_Stream0_IRQn, 0, 0);
  HAL_NVIC_EnableIRQ(DMA2_Stream0_IRQn);

}

static void MX_GPIO_Init(void)
{
  GPIO_InitTypeDef GPIO_InitStruct = {0};

  /* GPIO Ports Clock Enable */
  __HAL_RCC_GPIOE_CLK_ENABLE();
  __HAL_RCC_GPIOH_CLK_ENABLE();
  __HAL_RCC_GPIOA_CLK_ENABLE();
  __HAL_RCC_GPIOB_CLK_ENABLE();
  __HAL_RCC_GPIOD_CLK_ENABLE();
  __HAL_RCC_GPIOC_CLK_ENABLE();

  /*Configure GPIO pin Output Level */
  HAL_GPIO_WritePin(GPIOE, GPIO_PIN_4|C1_Pin|C2_Pin|C3_Pin
                          |C4_Pin, GPIO_PIN_RESET);

  /*Configure GPIO pin Output Level */
  HAL_GPIO_WritePin(GPIOB, BOOT1_Pin|GPIO_PIN_11|GPIO_PIN_12, GPIO_PIN_RESET);

  /*Configure GPIO pin Output Level */
  HAL_GPIO_WritePin(GPIOD, GPIO_PIN_8|Bee_Pin|LED_Green_Pin|LED_Orange_Pin
                          |LED_Red_Pin|LED_Blue_Pin|GPIO_PIN_7, GPIO_PIN_RESET);

  /*Configure GPIO pins : PE4 C1_Pin C2_Pin C3_Pin
                           C4_Pin */
  GPIO_InitStruct.Pin = GPIO_PIN_4|C1_Pin|C2_Pin|C3_Pin
                          |C4_Pin;
  GPIO_InitStruct.Mode = GPIO_MODE_OUTPUT_PP;
  GPIO_InitStruct.Pull = GPIO_NOPULL;
  GPIO_InitStruct.Speed = GPIO_SPEED_FREQ_LOW;
  HAL_GPIO_Init(GPIOE, &GPIO_InitStruct);

  /*Configure GPIO pin : btn_blue_Pin */
  GPIO_InitStruct.Pin = btn_blue_Pin;
  GPIO_InitStruct.Mode = GPIO_MODE_INPUT;
  GPIO_InitStruct.Pull = GPIO_NOPULL;
  HAL_GPIO_Init(btn_blue_GPIO_Port, &GPIO_InitStruct);

  /*Configure GPIO pins : BOOT1_Pin PB11 PB12 */
  GPIO_InitStruct.Pin = BOOT1_Pin|GPIO_PIN_11|GPIO_PIN_12;
  GPIO_InitStruct.Mode = GPIO_MODE_OUTPUT_PP;
  GPIO_InitStruct.Pull = GPIO_NOPULL;
  GPIO_InitStruct.Speed = GPIO_SPEED_FREQ_LOW;
  HAL_GPIO_Init(GPIOB, &GPIO_InitStruct);

  /*Configure GPIO pins : R1_Pin R2_Pin R3_Pin R4_Pin */
  GPIO_InitStruct.Pin = R1_Pin|R2_Pin|R3_Pin|R4_Pin;
  GPIO_InitStruct.Mode = GPIO_MODE_INPUT;
  GPIO_InitStruct.Pull = GPIO_PULLUP;
  HAL_GPIO_Init(GPIOE, &GPIO_InitStruct);

  /*Configure GPIO pins : PD8 Bee_Pin LED_Green_Pin LED_Orange_Pin
                           LED_Red_Pin LED_Blue_Pin PD7 */
  GPIO_InitStruct.Pin = GPIO_PIN_8|Bee_Pin|LED_Green_Pin|LED_Orange_Pin
                          |LED_Red_Pin|LED_Blue_Pin|GPIO_PIN_7;
  GPIO_InitStruct.Mode = GPIO_MODE_OUTPUT_PP;
  GPIO_InitStruct.Pull = GPIO_NOPULL;
  GPIO_InitStruct.Speed = GPIO_SPEED_FREQ_LOW;
  HAL_GPIO_Init(GPIOD, &GPIO_InitStruct);

  /*Configure GPIO pin : PE0 */
  GPIO_InitStruct.Pin = GPIO_PIN_0;
  GPIO_InitStruct.Mode = GPIO_MODE_IT_RISING;
  GPIO_InitStruct.Pull = GPIO_NOPULL;
  HAL_GPIO_Init(GPIOE, &GPIO_InitStruct);

  /* EXTI interrupt init*/
  HAL_NVIC_SetPriority(EXTI0_IRQn, 15, 0);
  HAL_NVIC_EnableIRQ(EXTI0_IRQn);

}

/* USER CODE BEGIN 4 */

void HAL_GPIO_EXTI_Callback(uint16_t GPIO_Pin) {
	BaseType_t xHigherPriorityTaskWoken;
	if (GPIO_Pin == GPIO_PIN_0) {
		xHigherPriorityTaskWoken = pdFALSE;
		if (flag == pdTRUE) {
			xSemaphoreGiveFromISR(xSemaphore, &xHigherPriorityTaskWoken);
		} else {
			//do nothing
		}

		HAL_GPIO_TogglePin(GPIOD, GPIO_PIN_14);
		uint8_t data_1 = 0x5f | 0x80;
		HAL_GPIO_WritePin(GPIOE, GPIO_PIN_3, GPIO_PIN_RESET);
		HAL_SPI_Transmit(&hspi1, &data_1, 1, 10);
		////	HAL_Delay(10);
		HAL_SPI_Receive(&hspi1, &data_1, 1, 10);
		HAL_GPIO_WritePin(GPIOE, GPIO_PIN_3, GPIO_PIN_SET);
		portYIELD_FROM_ISR(xHigherPriorityTaskWoken);
	}

}
/* USER CODE END 4 */

void HAL_TIM_PeriodElapsedCallback(TIM_HandleTypeDef *htim)
{
  if (htim->Instance == TIM6) {
    HAL_IncTick();
  }
}

void Error_Handler(void)
{
	__disable_irq();
	while (1) {
	}
}
